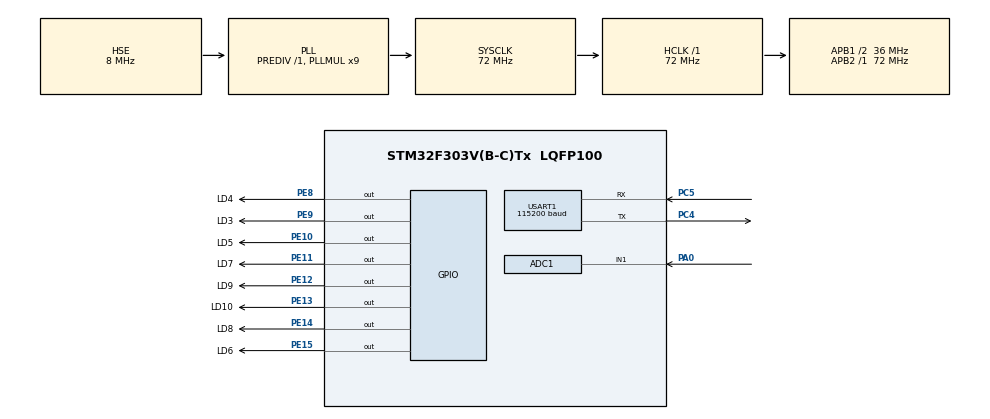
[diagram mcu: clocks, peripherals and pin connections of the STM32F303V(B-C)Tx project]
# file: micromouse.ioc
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Mcu.Family=STM32F3
Dma.USART1_TX.2.Direction=DMA_MEMORY_TO_PERIPH
RCC.CortexFreq_Value=72000000
NVIC.DMA1_Channel5_IRQn=true\:0\:0\:false\:false\:true\:false\:true
VP_ADC1_TempSens_Input.Mode=IN-TempSens
ADC1.ContinuousConvMode=ENABLE
PE11.GPIO_Label=LD7
USART1.BaudRate=115200
ADC1.SamplingTimeOPAMP-1\#ChannelRegularConversion=ADC_SAMPLETIME_61CYCLES_5
RCC.SYSCLKSourceVirtual=RCC_SYSCLKSOURCE_PLLCLK
PC5.Mode=Asynchronous
ProjectManager.StackSize=0x400
ADC1.Offset-0\#ChannelRegularConversion=0
RCC.HCLKFreq_Value=72000000
ADC1.Offset-1\#ChannelRegularConversion=0
RCC.APB2TimFreq_Value=72000000
Dma.ADC1.0.Direction=DMA_PERIPH_TO_MEMORY
Dma.USART1_RX.1.MemInc=DMA_MINC_ENABLE
Dma.ADC1.0.MemDataAlignment=DMA_MDATAALIGN_HALFWORD
RCC.AHBFreq_Value=72000000
ADC1.Channel-0\#ChannelRegularConversion=ADC_CHANNEL_TEMPSENSOR
RCC.HSE_VALUE=8000000
Dma.USART1_RX.1.PeriphDataAlignment=DMA_PDATAALIGN_BYTE
RCC.PLLMUL=RCC_PLL_MUL9
PE13.Signal=GPIO_Output
PE9.Signal=GPIO_Output
Dma.ADC1.0.PeriphInc=DMA_PINC_DISABLE
PA0.Mode=IN1-Single-Ended
Dma.USART1_TX.2.PeriphDataAlignment=DMA_PDATAALIGN_BYTE
Dma.USART1_TX.2.MemDataAlignment=DMA_MDATAALIGN_BYTE
PE10.Signal=GPIO_Output
ADC1.SamplingTime-0\#ChannelRegularConversion=ADC_SAMPLETIME_1CYCLE_5
PA0.Signal=ADC1_IN1
Dma.USART1_RX.1.Mode=DMA_NORMAL
Mcu.Package=LQFP100
PE12.GPIO_Label=LD9
ADC1.OffsetNumber-1\#ChannelRegularConversion=ADC_OFFSET_NONE
Dma.USART1_RX.1.PeriphInc=DMA_PINC_DISABLE
Dma.Request2=USART1_TX
Dma.Request1=USART1_RX
RCC.APB1TimFreq_Value=72000000
PC5.Signal=USART1_RX
Dma.USART1_RX.1.Priority=DMA_PRIORITY_LOW
NVIC.DMA1_Channel4_IRQn=true\:0\:0\:false\:false\:true\:false\:true
Dma.Request0=ADC1
PE10.GPIO_Label=LD5
PC4.Mode=Asynchronous
RCC.PLLSourceVirtual=RCC_PLLSOURCE_HSE
Dma.USART1_RX.1.Instance=DMA1_Channel5
Dma.ADC1.0.Instance=DMA1_Channel1
Dma.USART1_RX.1.MemDataAlignment=DMA_MDATAALIGN_BYTE
ADC1.Rank-0\#ChannelRegularConversion=1
Dma.USART1_TX.2.MemInc=DMA_MINC_ENABLE
ADC1.OffsetNumber-0\#ChannelRegularConversion=ADC_OFFSET_NONE
PC4.Signal=USART1_TX
PE14.GPIO_Label=LD8
RCC.APB1CLKDivider=RCC_HCLK_DIV2
USART1.VirtualMode-Asynchronous=VM_ASYNC
Dma.ADC1.0.PeriphDataAlignment=DMA_PDATAALIGN_HALFWORD
PE15.GPIO_Label=LD6
ProjectManager.TargetToolchain=Makefile
Dma.ADC1.0.Mode=DMA_NORMAL
PE8.GPIO_Label=LD4
Dma.ADC1.0.Priority=DMA_PRIORITY_LOW
ADC1.Channel-1\#ChannelRegularConversion=ADC_CHANNEL_1
RCC.USBFreq_Value=72000000
PE11.Signal=GPIO_Output
RCC.LSE_VALUE=32768
PE9.GPIO_Label=LD3
PF0-OSC_IN.Mode=HSE-External-Clock-Source
board=custom
RCC.APB2Freq_Value=72000000
PE14.Signal=GPIO_Output
PE15.Signal=GPIO_Output
PE8.Signal=GPIO_Output
Dma.USART1_TX.2.Priority=DMA_PRIORITY_LOW
ADC1.DMAContinuousRequests=ENABLE
ADC1.NbrOfConversion=2
Mcu.Name=STM32F303V(B-C)Tx
PE12.Signal=GPIO_Output
Dma.USART1_TX.2.PeriphInc=DMA_PINC_DISABLE
ADC1.SamplingTime-1\#ChannelRegularConversion=ADC_SAMPLETIME_1CYCLE_5
RCC.SYSCLKFreq_VALUE=72000000
ADC1.master=1
PE13.GPIO_Label=LD10
ADC1.Rank-1\#ChannelRegularConversion=2
Dma.ADC1.0.MemInc=DMA_MINC_ENABLE
ProjectManager.HeapSize=0x200
Dma.USART1_TX.2.Mode=DMA_NORMAL
RCC.HSI_VALUE=8000000
NVIC.PriorityGroup=NVIC_PRIORITYGROUP_4
ADC1.NbrOfConversionFlag=1
Dma.USART1_TX.2.Instance=DMA1_Channel4
Dma.USART1_RX.1.Direction=DMA_PERIPH_TO_MEMORY
NVIC.DMA1_Channel1_IRQn=true\:0\:0\:false\:false\:true\:false\:true
PF0-OSC_IN.Signal=RCC_OSC_IN
RCC.APB1Freq_Value=36000000

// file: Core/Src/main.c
/* USER CODE BEGIN Header */
/**
  ******************************************************************************
  * @file           : main.c
  * @brief          : Main program body
  ******************************************************************************
  * @attention
  *
  * <h2><center>&copy; Copyright (c) 2020 STMicroelectronics.
  * All rights reserved.</center></h2>
  *
  * This software component is licensed by ST under BSD 3-Clause license,
  * the "License"; You may not use this file except in compliance with the
  * License. You may obtain a copy of the License at:
  *                        opensource.org/licenses/BSD-3-Clause
  *
  ******************************************************************************
  */
/* USER CODE END Header */
#include "main.h"

/* USER CODE BEGIN Includes */
#include <string.h>
#include <stdio.h>

/* USER CODE END Includes */

ADC_HandleTypeDef hadc1;
DMA_HandleTypeDef hdma_adc1;

UART_HandleTypeDef huart1;
DMA_HandleTypeDef hdma_usart1_rx;
DMA_HandleTypeDef hdma_usart1_tx;

void SystemClock_Config(void);
static void MX_GPIO_Init(void);
static void MX_DMA_Init(void);
static void MX_USART1_UART_Init(void);
static void MX_ADC1_Init(void);

/* USER CODE BEGIN 0 */
uint8_t usart_rx[256];
uint8_t usart_tx[256];
void HAL_UART_TxCpltCallback(UART_HandleTypeDef *huart){
  HAL_GPIO_TogglePin(LD10_GPIO_Port, LD10_Pin);
}
void HAL_UART_RxCpltCallback(UART_HandleTypeDef *huart){
  HAL_UART_Receive_DMA(&huart1, usart_rx, 2);
  HAL_GPIO_TogglePin(LD7_GPIO_Port, LD7_Pin);

}
void HAL_UART_ErrorCallback (UART_HandleTypeDef * huart)
{
  HAL_GPIO_TogglePin(LD5_GPIO_Port, LD5_GPIO_Port);
}

/* USER CODE END 0 */

int main(void)
{

  /* MCU Configuration--------------------------------------------------------*/

  /* Reset of all peripherals, Initializes the Flash interface and the Systick. */
  HAL_Init();

  /* Configure the system clock */
  SystemClock_Config();

  /* Initialize all configured peripherals */
  MX_GPIO_Init();
  MX_DMA_Init();
  MX_USART1_UART_Init();
  MX_ADC1_Init();
  /* USER CODE BEGIN 2 */
  HAL_UART_Receive_DMA(&huart1, usart_rx, 2);
  uint8_t size = 0;
  uint8_t counter = 0;

  /* USER CODE END 2 */

  /* Infinite loop */
  while (1)
  {

    /* USER CODE BEGIN 3 */
    size = sprintf(usart_tx, "No hej %d :*\n\r", counter);
    HAL_UART_Transmit_DMA(&huart1, usart_tx, size);
    // HAL_UART_Transmit(&huart1, msg, size, 1000);
    HAL_GPIO_TogglePin(LD7_GPIO_Port, LD7_GPIO_Port);
    HAL_Delay(1000);
    ++counter;
  }
  /* USER CODE END 3 */
}

void SystemClock_Config(void)
{
  RCC_OscInitTypeDef RCC_OscInitStruct = {0};
  RCC_ClkInitTypeDef RCC_ClkInitStruct = {0};
  RCC_PeriphCLKInitTypeDef PeriphClkInit = {0};

  /** Initializes the RCC Oscillators according to the specified parameters
  * in the RCC_OscInitTypeDef structure.
  */
  RCC_OscInitStruct.OscillatorType = RCC_OSCILLATORTYPE_HSE;
  RCC_OscInitStruct.HSEState = RCC_HSE_BYPASS;
  RCC_OscInitStruct.HSEPredivValue = RCC_HSE_PREDIV_DIV1;
  RCC_OscInitStruct.HSIState = RCC_HSI_ON;
  RCC_OscInitStruct.PLL.PLLState = RCC_PLL_ON;
  RCC_OscInitStruct.PLL.PLLSource = RCC_PLLSOURCE_HSE;
  RCC_OscInitStruct.PLL.PLLMUL = RCC_PLL_MUL9;
  if (HAL_RCC_OscConfig(&RCC_OscInitStruct) != HAL_OK)
  {
    Error_Handler();
  }
  /** Initializes the CPU, AHB and APB buses clocks
  */
  RCC_ClkInitStruct.ClockType = RCC_CLOCKTYPE_HCLK|RCC_CLOCKTYPE_SYSCLK
                              |RCC_CLOCKTYPE_PCLK1|RCC_CLOCKTYPE_PCLK2;
  RCC_ClkInitStruct.SYSCLKSource = RCC_SYSCLKSOURCE_PLLCLK;
  RCC_ClkInitStruct.AHBCLKDivider = RCC_SYSCLK_DIV1;
  RCC_ClkInitStruct.APB1CLKDivider = RCC_HCLK_DIV2;
  RCC_ClkInitStruct.APB2CLKDivider = RCC_HCLK_DIV1;

  if (HAL_RCC_ClockConfig(&RCC_ClkInitStruct, FLASH_LATENCY_2) != HAL_OK)
  {
    Error_Handler();
  }
  PeriphClkInit.PeriphClockSelection = RCC_PERIPHCLK_USART1|RCC_PERIPHCLK_ADC12;
  PeriphClkInit.Usart1ClockSelection = RCC_USART1CLKSOURCE_PCLK2;
  PeriphClkInit.Adc12ClockSelection = RCC_ADC12PLLCLK_DIV1;
  if (HAL_RCCEx_PeriphCLKConfig(&PeriphClkInit) != HAL_OK)
  {
    Error_Handler();
  }
}

static void MX_ADC1_Init(void)
{

  ADC_MultiModeTypeDef multimode = {0};
  ADC_ChannelConfTypeDef sConfig = {0};

  /** Common config
  */
  hadc1.Instance = ADC1;
  hadc1.Init.ClockPrescaler = ADC_CLOCK_ASYNC_DIV1;
  hadc1.Init.Resolution = ADC_RESOLUTION_12B;
  hadc1.Init.ScanConvMode = ADC_SCAN_ENABLE;
  hadc1.Init.ContinuousConvMode = ENABLE;
  hadc1.Init.DiscontinuousConvMode = DISABLE;
  hadc1.Init.ExternalTrigConvEdge = ADC_EXTERNALTRIGCONVEDGE_NONE;
  hadc1.Init.ExternalTrigConv = ADC_SOFTWARE_START;
  hadc1.Init.DataAlign = ADC_DATAALIGN_RIGHT;
  hadc1.Init.NbrOfConversion = 2;
  hadc1.Init.DMAContinuousRequests = ENABLE;
  hadc1.Init.EOCSelection = ADC_EOC_SINGLE_CONV;
  hadc1.Init.LowPowerAutoWait = DISABLE;
  hadc1.Init.Overrun = ADC_OVR_DATA_OVERWRITTEN;
  if (HAL_ADC_Init(&hadc1) != HAL_OK)
  {
    Error_Handler();
  }
  /** Configure the ADC multi-mode
  */
  multimode.Mode = ADC_MODE_INDEPENDENT;
  if (HAL_ADCEx_MultiModeConfigChannel(&hadc1, &multimode) != HAL_OK)
  {
    Error_Handler();
  }
  /** Configure Regular Channel
  */
  sConfig.Channel = ADC_CHANNEL_TEMPSENSOR;
  sConfig.Rank = ADC_REGULAR_RANK_1;
  sConfig.SingleDiff = ADC_SINGLE_ENDED;
  sConfig.SamplingTime = ADC_SAMPLETIME_1CYCLE_5;
  sConfig.OffsetNumber = ADC_OFFSET_NONE;
  sConfig.Offset = 0;
  if (HAL_ADC_ConfigChannel(&hadc1, &sConfig) != HAL_OK)
  {
    Error_Handler();
  }
  /** Configure Regular Channel
  */
  sConfig.Channel = ADC_CHANNEL_1;
  sConfig.Rank = ADC_REGULAR_RANK_2;
  if (HAL_ADC_ConfigChannel(&hadc1, &sConfig) != HAL_OK)
  {
    Error_Handler();
  }

}

static void MX_USART1_UART_Init(void)
{

  huart1.Instance = USART1;
  huart1.Init.BaudRate = 115200;
  huart1.Init.WordLength = UART_WORDLENGTH_8B;
  huart1.Init.StopBits = UART_STOPBITS_1;
  huart1.Init.Parity = UART_PARITY_NONE;
  huart1.Init.Mode = UART_MODE_TX_RX;
  huart1.Init.HwFlowCtl = UART_HWCONTROL_NONE;
  huart1.Init.OverSampling = UART_OVERSAMPLING_16;
  huart1.Init.OneBitSampling = UART_ONE_BIT_SAMPLE_DISABLE;
  huart1.AdvancedInit.AdvFeatureInit = UART_ADVFEATURE_NO_INIT;
  if (HAL_UART_Init(&huart1) != HAL_OK)
  {
    Error_Handler();
  }

}

static void MX_DMA_Init(void)
{

  /* DMA controller clock enable */
  __HAL_RCC_DMA1_CLK_ENABLE();

  /* DMA interrupt init */
  /* DMA1_Channel1_IRQn interrupt configuration */
  HAL_NVIC_SetPriority(DMA1_Channel1_IRQn, 0, 0);
  HAL_NVIC_EnableIRQ(DMA1_Channel1_IRQn);
  /* DMA1_Channel4_IRQn interrupt configuration */
  HAL_NVIC_SetPriority(DMA1_Channel4_IRQn, 0, 0);
  HAL_NVIC_EnableIRQ(DMA1_Channel4_IRQn);
  /* DMA1_Channel5_IRQn interrupt configuration */
  HAL_NVIC_SetPriority(DMA1_Channel5_IRQn, 0, 0);
  HAL_NVIC_EnableIRQ(DMA1_Channel5_IRQn);

}

static void MX_GPIO_Init(void)
{
  GPIO_InitTypeDef GPIO_InitStruct = {0};

  /* GPIO Ports Clock Enable */
  __HAL_RCC_GPIOF_CLK_ENABLE();
  __HAL_RCC_GPIOA_CLK_ENABLE();
  __HAL_RCC_GPIOC_CLK_ENABLE();
  __HAL_RCC_GPIOE_CLK_ENABLE();

  /*Configure GPIO pin Output Level */
  HAL_GPIO_WritePin(GPIOE, LD4_Pin|LD3_Pin|LD5_Pin|LD7_Pin
                          |LD9_Pin|LD10_Pin|LD8_Pin|LD6_Pin, GPIO_PIN_RESET);

  /*Configure GPIO pins : LD4_Pin LD3_Pin LD5_Pin LD7_Pin
                           LD9_Pin LD10_Pin LD8_Pin LD6_Pin */
  GPIO_InitStruct.Pin = LD4_Pin|LD3_Pin|LD5_Pin|LD7_Pin
                          |LD9_Pin|LD10_Pin|LD8_Pin|LD6_Pin;
  GPIO_InitStruct.Mode = GPIO_MODE_OUTPUT_PP;
  GPIO_InitStruct.Pull = GPIO_NOPULL;
  GPIO_InitStruct.Speed = GPIO_SPEED_FREQ_LOW;
  HAL_GPIO_Init(GPIOE, &GPIO_InitStruct);

}

void Error_Handler(void)
{
  /* USER CODE BEGIN Error_Handler_Debug */
  /* User can add his own implementation to report the HAL error return state */
  while(1)
  {
    HAL_GPIO_TogglePin(LD3_GPIO_Port, LD3_Pin);
    HAL_Delay(1000);
  }

  /* USER CODE END Error_Handler_Debug */
}

/************************ (C) COPYRIGHT STMicroelectronics *****END OF FILE****/
